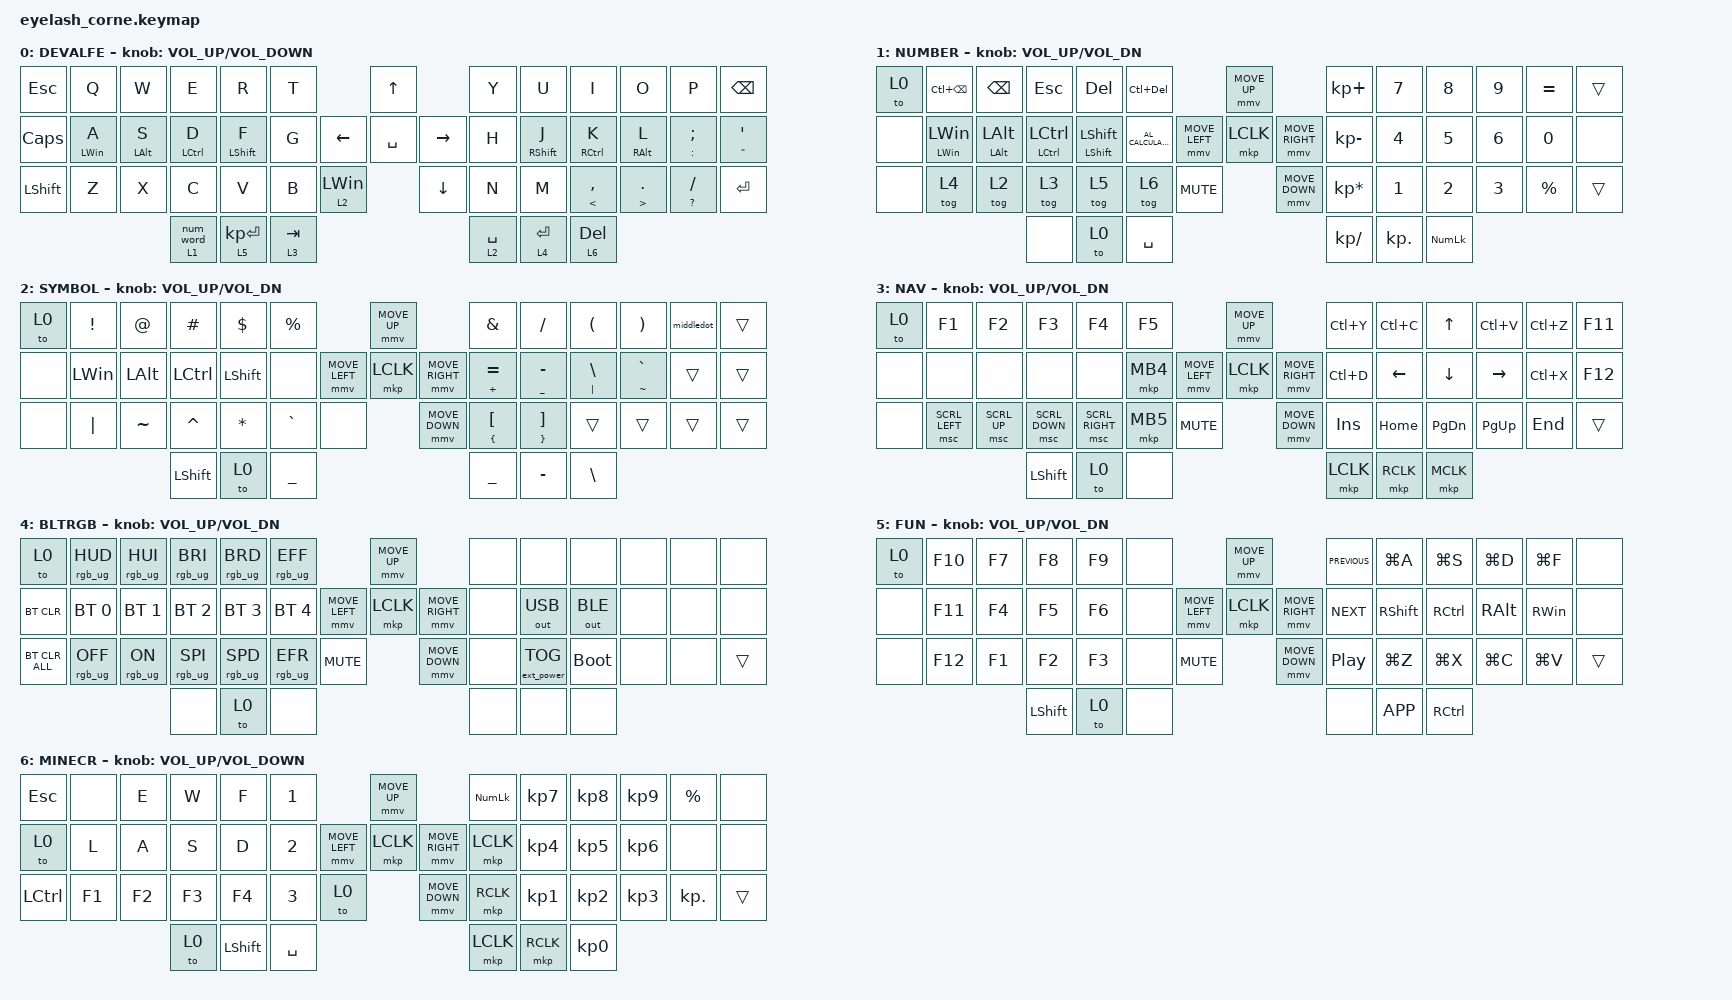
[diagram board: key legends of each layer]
#include <behaviors/num_word.dtsi> // urob's num word from zkm auto layer
#include <dt-bindings/zmk/mouse.h>
#include <input/processors.dtsi>

#define ZMK_POINTING_DEFAULT_MOVE_VAL 1800  // 600, 1200
#define ZMK_MOUSE_DEFAULT_SCRL_VAL 20    // 10

#include <behaviors.dtsi>
#include <dt-bindings/zmk/bt.h>
#include <dt-bindings/zmk/ext_power.h>
#include <dt-bindings/zmk/keys.h>
#include <dt-bindings/zmk/outputs.h>
#include <dt-bindings/zmk/pointing.h>
#include <dt-bindings/zmk/rgb.h>

/ {
    behaviors {
        mmv {
            acceleration-exponent = <2>;      // 1
            time-to-max-speed-ms = <40>;    // 40
            delay-ms = <0>;                   // 0
        };

        shiftnextcaps: shiftnextcaps {
            compatible = "zmk,behavior-tap-dance";
            display-name = "Shift/Caps Lock Tap Dance";
            #binding-cells = <0>;
            bindings = <&sk RIGHT_SHIFT>, <&kp CAPS>;

            label = "shiftnextcaps";
        };

        ltq: ltq {
            compatible = "zmk,behavior-hold-tap";
            label = "LTQ";
            bindings = <&mo>, <&kp>;

            #binding-cells = <2>;
            tapping-term-ms = <200>;
            quick-tap-ms = <180>;
        };

        as: auto_shift {
            compatible = "zmk,behavior-hold-tap";
            label = "AUTO_SHIFT";
            bindings = <&kp>, <&kp>;

            #binding-cells = <2>;
            tapping-term-ms = <135>;
            quick-tap-ms = <0>;
        };

        hml: hml {
            compatible = "zmk,behavior-hold-tap";
            label = "HML";
            bindings = <&kp>, <&kp>;

            #binding-cells = <2>;
            tapping-term-ms = <200>;
            quick-tap-ms = <150>;
            flavor = "balanced";
            require-prior-idle-ms = <100>;
            hold-trigger-key-positions = <13 14 15 16 17 18>;
            hold-trigger-on-release;
        };

        hmr: hmr {
            compatible = "zmk,behavior-hold-tap";
            label = "HMR";
            bindings = <&kp>, <&kp>;

            #binding-cells = <2>;
            tapping-term-ms = <200>;
            quick-tap-ms = <150>;
            flavor = "balanced";
            require-prior-idle-ms = <100>;
            hold-trigger-key-positions = <22 23 24 25 26>;
            hold-trigger-on-release;
        };

        sk_mo: sk_mo {
            compatible = "zmk,behavior-hold-tap";
            label = "SK_MO";
            bindings = <&mo>, <&sk>;

            #binding-cells = <2>;
            tapping-term-ms = <150>;
            flavor = "tap-preferred";
        };

        sl_mo: sl_mo {
            compatible = "zmk,behavior-hold-tap";
            label = "SL_MO";
            bindings = <&mo>, <&sl>;

            #binding-cells = <2>;
            tapping-term-ms = <160>;
            flavor = "tap-preferred";
        };

        num_word: num_word {
            compatible = "zmk,behavior-auto-layer";
            #binding-cells = <1>;
            continue-list = <BSPC DEL KP_DOT DOT COMMA KP_PLUS PLUS KP_MINUS MINUS KP_MULTIPLY STAR KP_DIVIDE FSLH EQUAL>;
            ignore-numbers;
        };

        smart_num: smart_num {
            compatible = "zmk,behavior-hold-tap";
            label = "SMART_NUM";
            bindings = <&mo>, <&num_word>;

            #binding-cells = <2>;
            tapping-term-ms = <150>;
            flavor = "tap-preferred";
            hold-trigger-key-positions = <42>;
        };

        sk_kp: sk_kp {
            compatible = "zmk,behavior-hold-tap";
            label = "SK_KP";
            bindings = <&kp>, <&sk>;

            #binding-cells = <2>;
            tapping-term-ms = <160>;
            flavor = "balanced";
            hold-trigger-key-positions = <28>;
        };
    };

    rgb_encoder: rgb_encoder {
        compatible = "zmk,behavior-sensor-rotate";
        #sensor-binding-cells = <0>;
        bindings = <&rgb_ug RGB_BRI>, <&rgb_ug RGB_BRD>;
    };

    scroll_encoder: scroll_encoder {
        compatible = "zmk,behavior-sensor-rotate";
        #sensor-binding-cells = <0>;
        bindings = <&msc SCRL_DOWN>, <&msc SCRL_UP>;

        tap-ms = <30>;
    };

    combos {
        compatible = "zmk,combos";

        cmb_back {
            bindings = <&kp BACKSPACE>;
            key-positions = <23 24>;
        };

        cmb_del {
            bindings = <&kp DEL>;
            key-positions = <24 25>;
        };

        cmb_caps {
            bindings = <&kp CAPS>;
            key-positions = <31 32>;
            layers = <0>;
        };

        smartcaps {
            bindings = <&caps_word>;
            key-positions = <16 17>;
            layers = <0>;
        };

        togbase {
            bindings = <&tog 0>;
            key-positions = <44 45>;
        };

        togmncft {
            bindings = <&tog 6>;
            key-positions = <2 3 4>;
        };

        cb-terminal {
            bindings = <&kp RC(J)>;
            key-positions = <29 14>;
        };

        cb-find {
            bindings = <&kp LC(F)>;
            key-positions = <30 15>;
        };

        cb-find-g {
            bindings = <&kp LC(LS(F))>;
            key-positions = <16 31>;
        };

        cb-replace {
            bindings = <&kp LC(H)>;
            key-positions = <17 32>;
        };

        cb-replace-g {
            bindings = <&kp LC(LS(H))>;
            key-positions = <33 18>;
        };

        cb-project {
            bindings = <&kp LC(LS(E))>;
            key-positions = <14 1>;
        };

        cb-tool-bars {
            bindings = <&kp LC(LS(B))>;
            key-positions = <15 2>;
        };

        cb-run {
            bindings = <&kp LC(LS(U))>;
            key-positions = <16 3>;
        };

        cb-files {
            bindings = <&kp LC(E)>;
            key-positions = <4 17>;
        };

        cb-goto {
            bindings = <&kp LC(P)>;
            key-positions = <5 18>;
        };
    };

    macros {
        middledot: middledot {
            compatible = "zmk,behavior-macro";
            #binding-cells = <0>;
            bindings =
                <&macro_press>,
                <&kp LEFT_ALT>,
                <&macro_tap>,
                <&kp KP_N0 &kp KP_N1 &kp KP_N8 &kp KP_N3>,
                <&macro_release>,
                <&kp LEFT_ALT>;

            label = "MIDDLEDOT";
        };
    };

    keymap {
        compatible = "zmk,keymap";

        default_layer {
            display-name = "DEVALFE";
            bindings = <
&kp ESCAPE      &kp Q            &kp W            &kp E                &kp R              &kp T                                          &kp UP_ARROW                     &kp Y         &kp U               &kp I                 &kp O                    &kp P                &kp BACKSPACE
&kp CAPSLOCK    &hml LEFT_WIN A  &hml LEFT_ALT S  &hml LEFT_CONTROL D  &hml LEFT_SHIFT F  &kp G                          &kp LEFT_ARROW  &kp SPACE       &kp RIGHT_ARROW  &kp H         &hmr RIGHT_SHIFT J  &hmr RIGHT_CONTROL K  &hmr RIGHT_ALT L         &as COLON SEMICOLON  &as DOUBLE_QUOTES SQT
&kp LEFT_SHIFT  &kp Z            &kp X            &kp C                &kp V              &kp B       &ltq 2 LEFT_WIN                    &kp DOWN_ARROW                   &kp N         &kp M               &as LESS_THAN COMMA   &as GREATER_THAN PERIOD  &as QUESTION SLASH   &kp ENTER
                                                  &smart_num 1 0       &ltq 5 KP_ENTER    &ltq 3 TAB                                                                      &ltq 2 SPACE  &ltq 4 ENTER        &ltq 6 DELETE
            >;

            sensor-bindings = <&inc_dec_kp C_VOLUME_UP C_VOLUME_DOWN>;
            label = "DEVALFE";
        };

        lower_layer {
            display-name = "NUMBER";
            bindings = <
&to 0  &kp LC(BACKSPACE)         &kp BACKSPACE             &kp ESCAPE                 &kp DEL                       &kp LC(DELETE)                                     &mmv MOVE_UP                     &kp KP_PLUS      &kp N7      &kp N8          &kp N9  &kp EQUAL    &trans
&none  &sk_kp LEFT_WIN LEFT_WIN  &sk_kp LEFT_ALT LEFT_ALT  &sk_kp LCTRL LEFT_CONTROL  &sk_kp LEFT_SHIFT LEFT_SHIFT  &kp C_AL_CALCULATOR                &mmv MOVE_LEFT  &mkp LCLK       &mmv MOVE_RIGHT  &kp KP_MINUS     &kp N4      &kp N5          &kp N6  &kp N0       &none
&none  &tog 4                    &tog 2                    &tog 3                     &tog 5                        &tog 6               &kp C_MUTE                    &mmv MOVE_DOWN                   &kp KP_MULTIPLY  &kp N1      &kp N2          &kp N3  &kp PERCENT  &trans
                                                           &none                      &to 0                         &kp SPACE                                                                           &kp KP_DIVIDE    &kp KP_DOT  &kp KP_NUMLOCK
            >;

            sensor-bindings = <&inc_dec_kp C_VOL_UP C_VOL_DN>;
        };

        raise_layer {
            display-name = "SYMBOL";
            bindings = <
&to 0  &kp EXCLAMATION  &kp AT_SIGN   &kp HASH        &kp DOLLAR      &kp PERCENT                           &mmv MOVE_UP                     &kp AMPERSAND                &kp SLASH                      &kp LEFT_PARENTHESIS  &kp RIGHT_PARENTHESIS  &middledot  &trans
&none  &kp LEFT_WIN     &kp LEFT_ALT  &kp LCTRL       &kp LEFT_SHIFT  &none                 &mmv MOVE_LEFT  &mkp LCLK       &mmv MOVE_RIGHT  &as PLUS EQUAL               &as UNDER MINUS                &as PIPE BACKSLASH    &as TILDE GRAVE        &trans      &trans
&none  &kp PIPE         &kp TILDE     &kp CARET       &kp ASTRK       &kp GRAVE    &none                    &mmv MOVE_DOWN                   &as LEFT_BRACE LEFT_BRACKET  &as RIGHT_BRACE RIGHT_BRACKET  &trans                &trans                 &trans      &trans
                                      &kp LEFT_SHIFT  &to 0           &kp UNDER                                                              &kp UNDERSCORE               &kp MINUS                      &kp BACKSLASH
            >;

            sensor-bindings = <&inc_dec_kp C_VOL_UP C_VOL_DN>;
        };

        layer_3 {
            display-name = "NAV";
            bindings = <
&to 0  &kp F1          &kp F2        &kp F3          &kp F4           &kp F5                                  &mmv MOVE_UP                     &kp LC(Y)   &kp LC(C)  &kp UP         &kp LC(V)    &kp LC(Z)  &kp F11
&none  &none           &none         &none           &none            &mkp MB4                &mmv MOVE_LEFT  &mkp LCLK       &mmv MOVE_RIGHT  &kp LC(D)   &kp LEFT   &kp DOWN       &kp RIGHT    &kp LC(X)  &kp F12
&none  &msc SCRL_LEFT  &msc SCRL_UP  &msc SCRL_DOWN  &msc SCRL_RIGHT  &mkp MB5  &kp C_MUTE                    &mmv MOVE_DOWN                   &kp INSERT  &kp HOME   &kp PAGE_DOWN  &kp PAGE_UP  &kp END    &trans
                                     &kp LEFT_SHIFT  &to 0            &none                                                                    &mkp LCLK   &mkp RCLK  &mkp MCLK
            >;

            sensor-bindings = <&inc_dec_kp C_VOL_UP C_VOL_DN>;
            label = "NAV";
        };

        layer_4 {
            bindings = <
&to 0           &rgb_ug RGB_HUD  &rgb_ug RGB_HUI  &rgb_ug RGB_BRI  &rgb_ug RGB_BRD  &rgb_ug RGB_EFF                                &mmv MOVE_UP                     &none  &none              &none         &none  &none  &none
&bt BT_CLR      &bt BT_SEL 0     &bt BT_SEL 1     &bt BT_SEL 2     &bt BT_SEL 3     &bt BT_SEL 4                   &mmv MOVE_LEFT  &mkp LCLK       &mmv MOVE_RIGHT  &none  &out OUT_USB       &out OUT_BLE  &none  &none  &none
&bt BT_CLR_ALL  &rgb_ug RGB_OFF  &rgb_ug RGB_ON   &rgb_ug RGB_SPI  &rgb_ug RGB_SPD  &rgb_ug RGB_EFR  &kp K_MUTE                    &mmv MOVE_DOWN                   &none  &ext_power EP_TOG  &bootloader   &none  &none  &trans
                                                  &none            &to 0            &none                                                                           &none  &none              &none
            >;

            label = "BLTRGB";
            sensor-bindings = <&inc_dec_kp C_VOLUME_UP C_VOL_DN>;
        };

        layer_5 {
            bindings = <
&to 0  &kp F10  &kp F7  &kp F8          &kp F9  &none                                &mmv MOVE_UP                     &kp C_PREVIOUS    &kp LG(A)        &kp LG(S)          &kp LG(D)      &kp LG(F)      &none
&none  &kp F11  &kp F4  &kp F5          &kp F6  &none                &mmv MOVE_LEFT  &mkp LCLK       &mmv MOVE_RIGHT  &kp C_NEXT        &kp RIGHT_SHIFT  &kp RCTRL          &kp RIGHT_ALT  &kp RIGHT_WIN  &none
&none  &kp F12  &kp F1  &kp F2          &kp F3  &none  &kp C_MUTE                    &mmv MOVE_DOWN                   &kp C_PLAY_PAUSE  &kp LG(Z)        &kp LG(X)          &kp LG(C)      &kp LG(V)      &trans
                        &kp LEFT_SHIFT  &to 0   &none                                                                 &none             &kp K_APP        &kp RIGHT_CONTROL
            >;

            label = "FUN";
            sensor-bindings = <&inc_dec_kp C_VOL_UP C_VOL_DN>;
        };

        layer_6 {
            bindings = <
&kp ESC    &none   &kp E   &kp W   &kp F      &kp N1                              &mmv MOVE_UP                     &kp KP_NUMLOCK  &kp KP_NUMBER_7  &kp KP_N8  &kp KP_N9  &kp PRCNT   &none
&to 0      &kp L   &kp A   &kp S   &kp D      &kp N2              &mmv MOVE_LEFT  &mkp LCLK       &mmv MOVE_RIGHT  &mkp LCLK       &kp KP_N4        &kp KP_N5  &kp KP_N6  &none       &none
&kp LCTRL  &kp F1  &kp F2  &kp F3  &kp F4     &kp N3     &to 0                    &mmv MOVE_DOWN                   &mkp RCLK       &kp KP_N1        &kp KP_N2  &kp KP_N3  &kp KP_DOT  &trans
                           &to 0   &kp LSHFT  &kp SPACE                                                            &mkp LCLK       &mkp RCLK        &kp KP_N0
            >;

            label = "MINECR";
            sensor-bindings = <&inc_dec_kp C_VOLUME_UP C_VOLUME_DOWN>;
        };
    };

    conditional_layers {
        compatible = "zmk,conditional-layers";

        Minecr {
            if-layers = <1 2>;
            then-layer = <6>;
        };
    };
};
